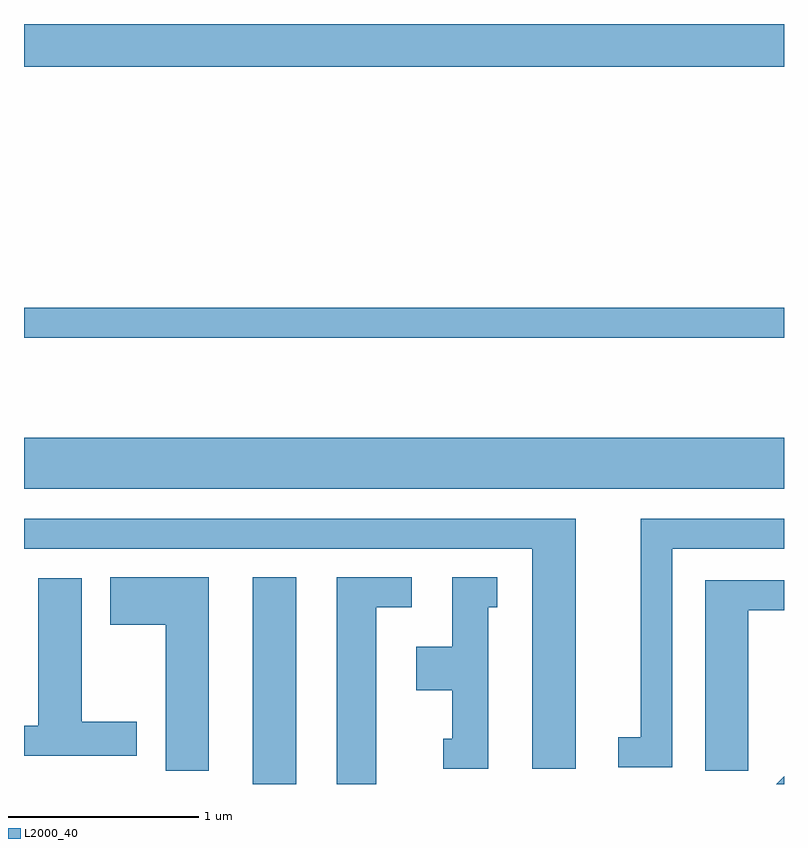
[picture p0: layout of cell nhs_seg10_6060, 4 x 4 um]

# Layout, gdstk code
import gdstk
lib = gdstk.Library(unit=1e-6, precision=1e-09)
def R(c, l, rs):  # rectangles x0, y0, x1, y1
    for r in rs: c.add(gdstk.rectangle(r[:2], r[2:], *l))
def P(c, l, *ps):  # polygons
    for p in ps: c.add(gdstk.Polygon(p, *l))
L2000_40 = (2000, 40)

nhs_seg10_6060 = lib.new_cell('nhs_seg10_6060')
R(nhs_seg10_6060, L2000_40, [(364.816,2174.522,365.044,2175.609), (363.611,2176.076,367.611,2176.344), (363.611,2176.871,367.611,2177.029), (363.611,2178.296,367.611,2178.522)])
P(nhs_seg10_6060, L2000_40, [(367.024,2175.761),(367.611,2175.761),(367.611,2175.919),(366.856,2175.919),(366.856,2174.769),(366.738,2174.769),(366.738,2174.611),(367.024,2174.611)],
  [(366.514,2175.919),(363.611,2175.919),(363.611,2175.761),(366.286,2175.761),(366.286,2174.601),(366.514,2174.601)],
  [(364.584,2175.609),(364.066,2175.609),(364.066,2175.361),(364.356,2175.361),(364.356,2174.591),(364.584,2174.591)],
  [(365.464,2175.451),(365.653,2175.451),(365.653,2175.609),(365.256,2175.609),(365.256,2174.522),(365.464,2174.522)],
  [(366.054,2175.451),(366.103,2175.451),(366.103,2175.609),(365.866,2175.609),(365.866,2175.244),(365.676,2175.244),(365.676,2175.016),(365.866,2175.016),(365.866,2174.759),(365.818,2174.759),(365.818,2174.601),(366.054,2174.601)],
  [(364.204,2174.849),(363.914,2174.849),(363.914,2175.604),(363.686,2175.604),(363.686,2174.829),(363.611,2174.829),(363.611,2174.671),(364.204,2174.671)],
  [(367.424,2175.436),(367.611,2175.436),(367.611,2175.594),(367.196,2175.594),(367.196,2174.591),(367.424,2174.591)],
  [(367.611,2174.562),(367.571,2174.522),(367.611,2174.522)])

lib.write_gds('nhs_seg10_6060.gds')
